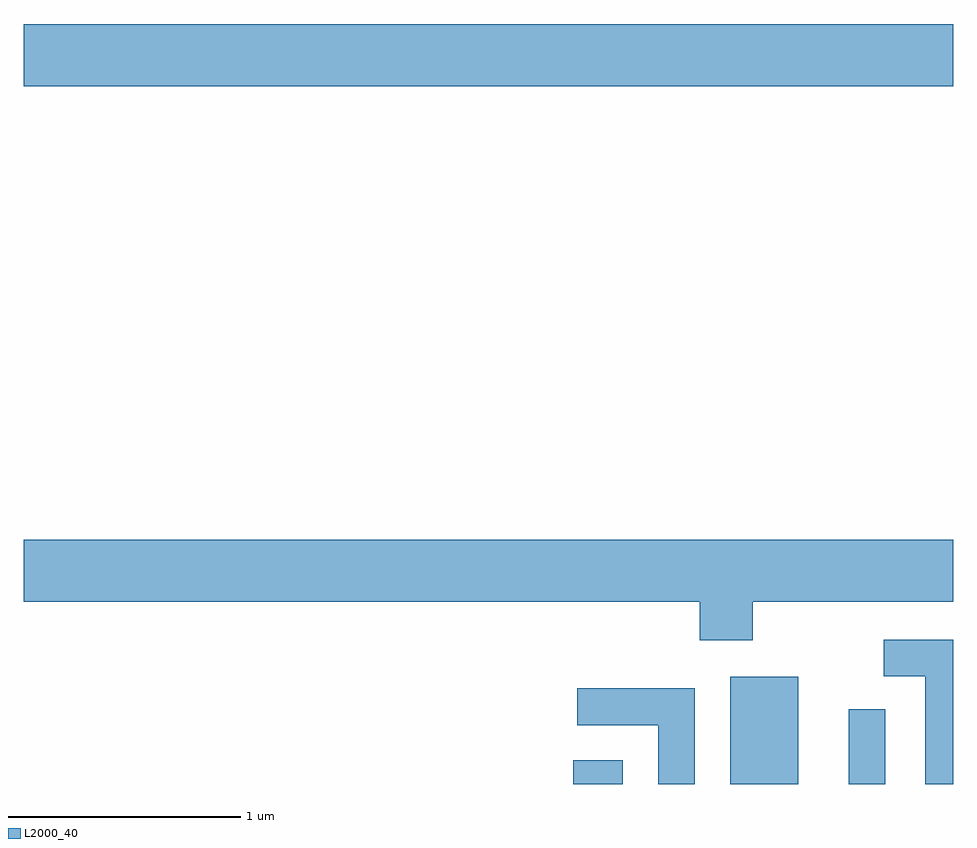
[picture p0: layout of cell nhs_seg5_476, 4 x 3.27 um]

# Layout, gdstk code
import gdstk
lib = gdstk.Library(unit=1e-6, precision=1e-09)
def R(c, l, rs):  # rectangles x0, y0, x1, y1
    for r in rs: c.add(gdstk.rectangle(r[:2], r[2:], *l))
def P(c, l, *ps):  # polygons
    for p in ps: c.add(gdstk.Polygon(p, *l))
L2000_40 = (2000, 40)

nhs_seg5_476 = lib.new_cell('nhs_seg5_476')
R(nhs_seg5_476, L2000_40, [(201.976,1396.072,202.189,1396.174), (202.651,1396.072,202.944,1396.534), (203.161,1396.072,203.319,1396.393), (199.611,1399.076,203.611,1399.344)])
P(nhs_seg5_476, L2000_40, [(202.749,1396.856),(203.611,1396.856),(203.611,1397.124),(199.611,1397.124),(199.611,1396.856),(202.521,1396.856),(202.521,1396.691),(202.749,1396.691)],
  [(203.611,1396.694),(203.313,1396.694),(203.313,1396.536),(203.491,1396.536),(203.491,1396.072),(203.611,1396.072)],
  [(202.499,1396.484),(201.993,1396.484),(201.993,1396.326),(202.341,1396.326),(202.341,1396.072),(202.499,1396.072)])

lib.write_gds('nhs_seg5_476.gds')
